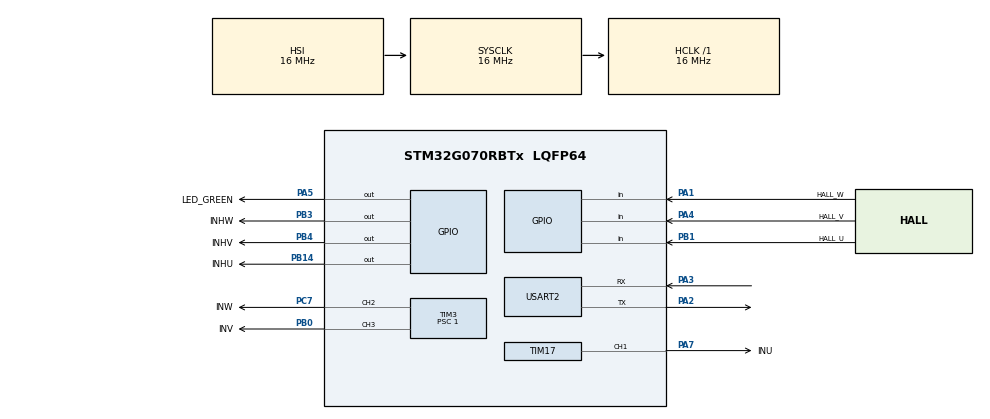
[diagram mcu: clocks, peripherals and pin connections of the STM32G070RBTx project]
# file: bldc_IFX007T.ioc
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Mcu.Family=STM32G0
Mcu.Name=STM32G070RBTx
Mcu.Package=LQFP64
PA1.GPIO_Label=HALL_W
PA1.Signal=GPIO_Input
PA13.GPIO_Label=TMS
PA13.Mode=Serial_Wire
PA13.Signal=SYS_SWDIO
PA14-BOOT0.GPIO_Label=TCK
PA14-BOOT0.Mode=Serial_Wire
PA14-BOOT0.Signal=SYS_SWCLK
PA2.GPIO_PuPd=GPIO_PULLUP
PA2.Mode=Asynchronous
PA2.Signal=USART2_TX
PA3.GPIO_PuPd=GPIO_PULLUP
PA3.Mode=Asynchronous
PA3.Signal=USART2_RX
PA4.GPIO_Label=HALL_V
PA4.Signal=GPIO_Input
PA5.GPIO_Label=LED_GREEN
PA5.GPIO_Speed=GPIO_SPEED_FREQ_HIGH
PA5.Signal=GPIO_Output
PA7.GPIO_Label=INU
PA7.Signal=S_TIM17_CH1
PB0.GPIO_Label=INV
PB0.Signal=S_TIM3_CH3
PB1.GPIO_Label=HALL_U
PB1.Signal=GPIO_Input
PB14.GPIO_Label=INHU
PB14.GPIO_PuPd=GPIO_PULLDOWN
PB14.Signal=GPIO_Output
PB3.GPIO_Label=INHW
PB3.GPIO_PuPd=GPIO_PULLDOWN
PB3.Signal=GPIO_Output
PB4.GPIO_Label=INHV
PB4.GPIO_PuPd=GPIO_PULLDOWN
PB4.Signal=GPIO_Output
PC13.Mode=SYS_WakeUp1
PC13.Signal=SYS_WKUP2
PC14-OSC32_IN\ (PC14).Mode=LSE-External-Oscillator
PC14-OSC32_IN\ (PC14).Signal=RCC_OSC32_IN
PC15-OSC32_OUT\ (PC15).Mode=LSE-External-Oscillator
PC15-OSC32_OUT\ (PC15).Signal=RCC_OSC32_OUT
PC7.GPIO_Label=INW
PC7.Signal=S_TIM3_CH2
PF0-OSC_IN\ (PF0).GPIO_Label=MCO
PF0-OSC_IN\ (PF0).Mode=HSE-External-Clock-Source
PF0-OSC_IN\ (PF0).Signal=RCC_OSC_IN
ProjectManager.HeapSize=0x200
ProjectManager.StackSize=0x400
ProjectManager.TargetToolchain=STM32CubeIDE
RCC.AHBFreq_Value=16000000
RCC.CortexFreq_Value=16000000
RCC.EXTERNAL_CLOCK_VALUE=12288000
RCC.HCLKFreq_Value=16000000
RCC.HSE_VALUE=8000000
RCC.HSI_VALUE=16000000
RCC.SYSCLKFreq_VALUE=16000000
RCC.VCOOutputFreq_Value=128000000
SH.S_TIM17_CH1.0=TIM17_CH1,PWM Generation1 CH1
SH.S_TIM3_CH2.0=TIM3_CH2,PWM Generation2 CH2
SH.S_TIM3_CH3.0=TIM3_CH3,PWM Generation3 CH3
TIM17.AutoReloadPreload=TIM_AUTORELOAD_PRELOAD_ENABLE
TIM17.Channel=TIM_CHANNEL_1
TIM17.Period=255
TIM17.Prescaler=1
TIM3.AutoReloadPreload=TIM_AUTORELOAD_PRELOAD_ENABLE
TIM3.Channel-PWM\ Generation2\ CH2=TIM_CHANNEL_2
TIM3.Channel-PWM\ Generation3\ CH3=TIM_CHANNEL_3
TIM3.Period=255
TIM3.Prescaler=1
USART2.VirtualMode-Asynchronous=VM_ASYNC
USART2.WordLength=WORDLENGTH_8B
VP_SYS_VS_DBSignals.Mode=DisableDeadBatterySignals
VP_TIM17_VS_ClockSourceINT.Mode=Enable_Timer
VP_TIM3_VS_ClockSourceINT.Mode=Internal
board=NUCLEO-G070RB

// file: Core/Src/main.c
/* USER CODE BEGIN Header */
/**
  ******************************************************************************
  * @file           : main.c
  * @brief          : Main program body
  ******************************************************************************
  * @attention
  *
  * Copyright (c) 2024 STMicroelectronics.
  * All rights reserved.
  *
  * This software is licensed under terms that can be found in the LICENSE file
  * in the root directory of this software component.
  * If no LICENSE file comes with this software, it is provided AS-IS.
  *
  ******************************************************************************
  */
/* USER CODE END Header */
#include "main.h"

/* USER CODE BEGIN Includes */
#include "stdio.h"
#include "motor_control.h"
#include "serial_command.h"
/* USER CODE END Includes */

TIM_HandleTypeDef htim3;
TIM_HandleTypeDef htim17;

UART_HandleTypeDef huart2;

void SystemClock_Config(void);
static void MX_GPIO_Init(void);
static void MX_USART2_UART_Init(void);
static void MX_TIM3_Init(void);
static void MX_TIM17_Init(void);

/* USER CODE BEGIN 0 */
static uint16_t speed = 0;
/* USER CODE END 0 */

int main(void)
{

    /* MCU Configuration--------------------------------------------------------*/

    /* Reset of all peripherals, Initializes the Flash interface and the Systick. */
    HAL_Init();

    /* Configure the system clock */
    SystemClock_Config();

    /* Initialize all configured peripherals */
    MX_GPIO_Init();
    MX_USART2_UART_Init();
    MX_TIM3_Init();
    MX_TIM17_Init();
    /* USER CODE BEGIN 2 */
    // milliseconds
    uint32_t blink_period = 500;
    uint8_t direction = 0;

    uint32_t blink_next = 0;

    HAL_GPIO_WritePin(LED_GREEN_GPIO_Port, LED_GREEN_Pin, GPIO_PIN_RESET);
    init_pwm();
    HAL_TIM_PWM_Start(&htim3, TIM_CHANNEL_2);
    HAL_TIM_PWM_Start(&htim3, TIM_CHANNEL_3);
    HAL_TIM_PWM_Start(&htim17, TIM_CHANNEL_1);

    printf("\nstart\n\n");
    /* USER CODE END 2 */

    /* Infinite loop */
    /* USER CODE BEGIN WHILE */
    while (1)
    {
        uint32_t now = HAL_GetTick();

        if (now >= blink_next) {
            blink_next = now + blink_period;
            HAL_GPIO_TogglePin(LED_GREEN_GPIO_Port, LED_GREEN_Pin);
            //printf("%d %d %d\n", HAL_GPIO_ReadPin(HALL_U_GPIO_Port, HALL_U_Pin), HAL_GPIO_ReadPin(HALL_V_GPIO_Port, HALL_V_Pin), HAL_GPIO_ReadPin(HALL_W_GPIO_Port, HALL_W_Pin));
        }

        if (speed) {
            //commutation(direction, speed, 0);
            PID_control(direction, speed);
        }

        serial_command(&huart2, &direction, &speed);

        /* USER CODE END WHILE */

    }
}

void SystemClock_Config(void)
{
    RCC_OscInitTypeDef RCC_OscInitStruct = {0};
    RCC_ClkInitTypeDef RCC_ClkInitStruct = {0};

    /** Configure the main internal regulator output voltage
  */
    HAL_PWREx_ControlVoltageScaling(PWR_REGULATOR_VOLTAGE_SCALE1);

    /** Initializes the RCC Oscillators according to the specified parameters
    * in the RCC_OscInitTypeDef structure.
    */
    RCC_OscInitStruct.OscillatorType = RCC_OSCILLATORTYPE_HSI;
    RCC_OscInitStruct.HSIState = RCC_HSI_ON;
    RCC_OscInitStruct.HSIDiv = RCC_HSI_DIV1;
    RCC_OscInitStruct.HSICalibrationValue = RCC_HSICALIBRATION_DEFAULT;
    RCC_OscInitStruct.PLL.PLLState = RCC_PLL_NONE;
    if (HAL_RCC_OscConfig(&RCC_OscInitStruct) != HAL_OK)
    {
        Error_Handler();
    }

    /** Initializes the CPU, AHB and APB buses clocks
    */
    RCC_ClkInitStruct.ClockType = RCC_CLOCKTYPE_HCLK|RCC_CLOCKTYPE_SYSCLK
                                                            |RCC_CLOCKTYPE_PCLK1;
    RCC_ClkInitStruct.SYSCLKSource = RCC_SYSCLKSOURCE_HSI;
    RCC_ClkInitStruct.AHBCLKDivider = RCC_SYSCLK_DIV1;
    RCC_ClkInitStruct.APB1CLKDivider = RCC_HCLK_DIV1;

    if (HAL_RCC_ClockConfig(&RCC_ClkInitStruct, FLASH_LATENCY_0) != HAL_OK)
    {
        Error_Handler();
    }
}

static void MX_TIM3_Init(void)
{

    TIM_ClockConfigTypeDef sClockSourceConfig = {0};
    TIM_MasterConfigTypeDef sMasterConfig = {0};
    TIM_OC_InitTypeDef sConfigOC = {0};

    htim3.Instance = TIM3;
    htim3.Init.Prescaler = 1;
    htim3.Init.CounterMode = TIM_COUNTERMODE_UP;
    htim3.Init.Period = 255;
    htim3.Init.ClockDivision = TIM_CLOCKDIVISION_DIV1;
    htim3.Init.AutoReloadPreload = TIM_AUTORELOAD_PRELOAD_ENABLE;
    if (HAL_TIM_Base_Init(&htim3) != HAL_OK)
    {
        Error_Handler();
    }
    sClockSourceConfig.ClockSource = TIM_CLOCKSOURCE_INTERNAL;
    if (HAL_TIM_ConfigClockSource(&htim3, &sClockSourceConfig) != HAL_OK)
    {
        Error_Handler();
    }
    if (HAL_TIM_PWM_Init(&htim3) != HAL_OK)
    {
        Error_Handler();
    }
    sMasterConfig.MasterOutputTrigger = TIM_TRGO_RESET;
    sMasterConfig.MasterSlaveMode = TIM_MASTERSLAVEMODE_DISABLE;
    if (HAL_TIMEx_MasterConfigSynchronization(&htim3, &sMasterConfig) != HAL_OK)
    {
        Error_Handler();
    }
    sConfigOC.OCMode = TIM_OCMODE_PWM1;
    sConfigOC.Pulse = 0;
    sConfigOC.OCPolarity = TIM_OCPOLARITY_HIGH;
    sConfigOC.OCFastMode = TIM_OCFAST_DISABLE;
    if (HAL_TIM_PWM_ConfigChannel(&htim3, &sConfigOC, TIM_CHANNEL_2) != HAL_OK)
    {
        Error_Handler();
    }
    if (HAL_TIM_PWM_ConfigChannel(&htim3, &sConfigOC, TIM_CHANNEL_3) != HAL_OK)
    {
        Error_Handler();
    }
    HAL_TIM_MspPostInit(&htim3);

}

static void MX_TIM17_Init(void)
{

    TIM_OC_InitTypeDef sConfigOC = {0};
    TIM_BreakDeadTimeConfigTypeDef sBreakDeadTimeConfig = {0};

    htim17.Instance = TIM17;
    htim17.Init.Prescaler = 1;
    htim17.Init.CounterMode = TIM_COUNTERMODE_UP;
    htim17.Init.Period = 255;
    htim17.Init.ClockDivision = TIM_CLOCKDIVISION_DIV1;
    htim17.Init.RepetitionCounter = 0;
    htim17.Init.AutoReloadPreload = TIM_AUTORELOAD_PRELOAD_ENABLE;
    if (HAL_TIM_Base_Init(&htim17) != HAL_OK)
    {
        Error_Handler();
    }
    if (HAL_TIM_PWM_Init(&htim17) != HAL_OK)
    {
        Error_Handler();
    }
    sConfigOC.OCMode = TIM_OCMODE_PWM1;
    sConfigOC.Pulse = 0;
    sConfigOC.OCPolarity = TIM_OCPOLARITY_HIGH;
    sConfigOC.OCNPolarity = TIM_OCNPOLARITY_HIGH;
    sConfigOC.OCFastMode = TIM_OCFAST_DISABLE;
    sConfigOC.OCIdleState = TIM_OCIDLESTATE_RESET;
    sConfigOC.OCNIdleState = TIM_OCNIDLESTATE_RESET;
    if (HAL_TIM_PWM_ConfigChannel(&htim17, &sConfigOC, TIM_CHANNEL_1) != HAL_OK)
    {
        Error_Handler();
    }
    sBreakDeadTimeConfig.OffStateRunMode = TIM_OSSR_DISABLE;
    sBreakDeadTimeConfig.OffStateIDLEMode = TIM_OSSI_DISABLE;
    sBreakDeadTimeConfig.LockLevel = TIM_LOCKLEVEL_OFF;
    sBreakDeadTimeConfig.DeadTime = 0;
    sBreakDeadTimeConfig.BreakState = TIM_BREAK_DISABLE;
    sBreakDeadTimeConfig.BreakPolarity = TIM_BREAKPOLARITY_HIGH;
    sBreakDeadTimeConfig.BreakFilter = 0;
    sBreakDeadTimeConfig.AutomaticOutput = TIM_AUTOMATICOUTPUT_DISABLE;
    if (HAL_TIMEx_ConfigBreakDeadTime(&htim17, &sBreakDeadTimeConfig) != HAL_OK)
    {
        Error_Handler();
    }
    HAL_TIM_MspPostInit(&htim17);

}

static void MX_USART2_UART_Init(void)
{

    huart2.Instance = USART2;
    huart2.Init.BaudRate = 115200;
    huart2.Init.WordLength = UART_WORDLENGTH_8B;
    huart2.Init.StopBits = UART_STOPBITS_1;
    huart2.Init.Parity = UART_PARITY_NONE;
    huart2.Init.Mode = UART_MODE_TX_RX;
    huart2.Init.HwFlowCtl = UART_HWCONTROL_NONE;
    huart2.Init.OverSampling = UART_OVERSAMPLING_16;
    huart2.Init.OneBitSampling = UART_ONE_BIT_SAMPLE_DISABLE;
    huart2.Init.ClockPrescaler = UART_PRESCALER_DIV1;
    huart2.AdvancedInit.AdvFeatureInit = UART_ADVFEATURE_NO_INIT;
    if (HAL_UART_Init(&huart2) != HAL_OK)
    {
        Error_Handler();
    }
    if (HAL_UARTEx_SetTxFifoThreshold(&huart2, UART_TXFIFO_THRESHOLD_1_8) != HAL_OK)
    {
        Error_Handler();
    }
    if (HAL_UARTEx_SetRxFifoThreshold(&huart2, UART_RXFIFO_THRESHOLD_1_8) != HAL_OK)
    {
        Error_Handler();
    }
    if (HAL_UARTEx_DisableFifoMode(&huart2) != HAL_OK)
    {
        Error_Handler();
    }

}

static void MX_GPIO_Init(void)
{
    GPIO_InitTypeDef GPIO_InitStruct = {0};

    /* GPIO Ports Clock Enable */
    __HAL_RCC_GPIOC_CLK_ENABLE();
    __HAL_RCC_GPIOF_CLK_ENABLE();
    __HAL_RCC_GPIOA_CLK_ENABLE();
    __HAL_RCC_GPIOB_CLK_ENABLE();

    /*Configure GPIO pin Output Level */
    HAL_GPIO_WritePin(LED_GREEN_GPIO_Port, LED_GREEN_Pin, GPIO_PIN_RESET);

    /*Configure GPIO pin Output Level */
    HAL_GPIO_WritePin(GPIOB, INHU_Pin|INHW_Pin|INHV_Pin, GPIO_PIN_RESET);

    /*Configure GPIO pins : HALL_W_Pin HALL_V_Pin */
    GPIO_InitStruct.Pin = HALL_W_Pin|HALL_V_Pin;
    GPIO_InitStruct.Mode = GPIO_MODE_INPUT;
    GPIO_InitStruct.Pull = GPIO_NOPULL;
    HAL_GPIO_Init(GPIOA, &GPIO_InitStruct);

    /*Configure GPIO pin : LED_GREEN_Pin */
    GPIO_InitStruct.Pin = LED_GREEN_Pin;
    GPIO_InitStruct.Mode = GPIO_MODE_OUTPUT_PP;
    GPIO_InitStruct.Pull = GPIO_NOPULL;
    GPIO_InitStruct.Speed = GPIO_SPEED_FREQ_HIGH;
    HAL_GPIO_Init(LED_GREEN_GPIO_Port, &GPIO_InitStruct);

    /*Configure GPIO pin : HALL_U_Pin */
    GPIO_InitStruct.Pin = HALL_U_Pin;
    GPIO_InitStruct.Mode = GPIO_MODE_INPUT;
    GPIO_InitStruct.Pull = GPIO_NOPULL;
    HAL_GPIO_Init(HALL_U_GPIO_Port, &GPIO_InitStruct);

    /*Configure GPIO pins : INHU_Pin INHW_Pin INHV_Pin */
    GPIO_InitStruct.Pin = INHU_Pin|INHW_Pin|INHV_Pin;
    GPIO_InitStruct.Mode = GPIO_MODE_OUTPUT_PP;
    GPIO_InitStruct.Pull = GPIO_PULLDOWN;
    GPIO_InitStruct.Speed = GPIO_SPEED_FREQ_LOW;
    HAL_GPIO_Init(GPIOB, &GPIO_InitStruct);

}

/* USER CODE BEGIN 4 */
int __io_putchar(int ch)
{
    /* Place your implementation of fputc here */
    /* e.g. write a character to the USART1 and Loop until the end of transmission */
    HAL_UART_Transmit(&huart2, (uint8_t *)&ch, 1, 0xFFFF);

    return ch;
}
/* USER CODE END 4 */

void Error_Handler(void)
{
    __disable_irq();
    while (1)
    {
    }
}
